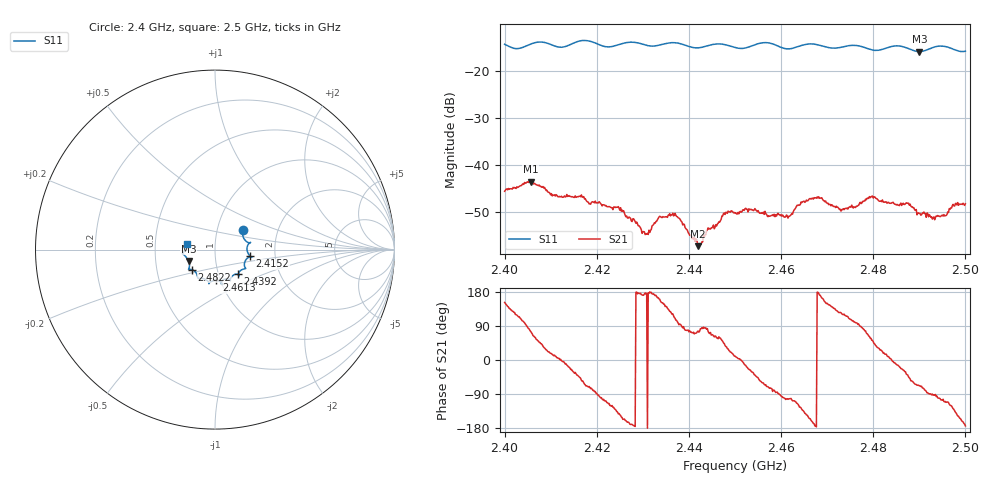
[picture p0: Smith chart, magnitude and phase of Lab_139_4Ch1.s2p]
# Hz S RI R 50
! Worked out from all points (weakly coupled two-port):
!   601 points, 2.4 GHz to 2.5 GHz, reference 50 ohm
!   highest |S21| = -43.50 dB at 2.4057 GHz (marker M1); lowest = -57.2 dB at 2.442 GHz (marker M2)
!   lowest |S11| = -15.9 dB at 2.49 GHz (marker M3), VSWR 1.38, Z = 36.9 - j4.83 ohm
!   |S11| at or under -10 dB: start of sweep to end of sweep
!   S12 and S22 are empty: the file has one direction only
!   S11 on the Smith chart (normalised r, x): 2.4 GHz: 1.33, +0.31; 2.4152 GHz: 1.48, -0.11; 2.4392 GHz: 1.23, -0.35; 2.4613 GHz: 0.96, -0.34; 2.4822 GHz: 0.76, -0.17; 2.5 GHz: 0.73, +0.05
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2.4e9  0.1557 0.1114  -0.00466 0.00248  0 0  0 0
2.405667e9  0.1887 0.0382  0.0017 0.00647  0 0  0 0
2.415167e9  0.1956 -0.0364  0.00372 -0.0026  0 0  0 0
2.416667e9  0.2051 -0.0423  0.00288 -0.00387  0 0  0 0
2.424667e9  0.1646 -0.0934  -0.00285 -0.00224  0 0  0 0
2.430333e9  0.1543 -0.1101  -0.00194 0.000201  0 0  0 0
2.433333e9  0.1317 -0.1323  -0.0026 0.000718  0 0  0 0
2.436833e9  0.135 -0.1462  -0.00111 0.00272  0 0  0 0
2.439167e9  0.1268 -0.1377  0.000418 0.00213  0 0  0 0
2.442e9  0.0985 -0.1454  0.000321 0.00134  0 0  0 0
2.447667e9  0.0849 -0.1703  0.00224 0.00213  0 0  0 0
2.45e9  0.0691 -0.1632  0.00304 0.000552  0 0  0 0
2.461333e9  0.00744 -0.171  -0.000607 -0.00283  0 0  0 0
2.466667e9  -0.0335 -0.1901  -0.0042 -0.0014  0 0  0 0
2.473167e9  -0.0792 -0.1604  -0.00179 0.00285  0 0  0 0
2.479333e9  -0.1023 -0.1342  0.0024 0.00381  0 0  0 0
2.482167e9  -0.1282 -0.1118  0.00384 0.00127  0 0  0 0
2.483333e9  -0.1395 -0.1102  0.00397 0.00063  0 0  0 0
2.4875e9  -0.1429 -0.0983  0.00302 -0.0025  0 0  0 0
2.49e9  -0.1468 -0.0637  0.00113 -0.00285  0 0  0 0
2.493333e9  -0.1778 -0.0259  -0.000144 -0.00263  0 0  0 0
2.5e9  -0.1581 0.0339  -0.00386 -0.00041  0 0  0 0
